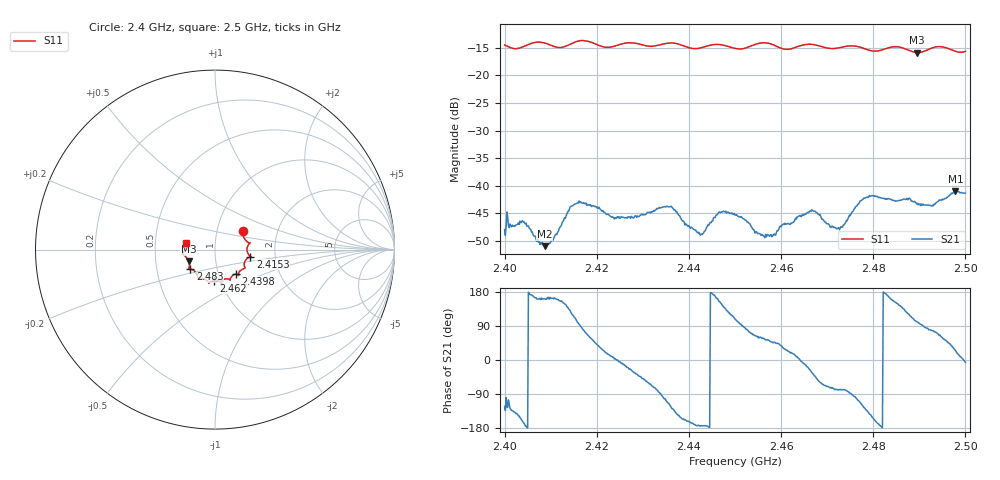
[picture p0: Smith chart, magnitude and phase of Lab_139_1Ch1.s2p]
# Hz S RI R 50
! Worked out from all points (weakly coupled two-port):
!   601 points, 2.4 GHz to 2.5 GHz, reference 50 ohm
!   highest |S21| = -40.99 dB at 2.4978 GHz (marker M1); lowest = -50.9 dB at 2.4087 GHz (marker M2)
!   lowest |S11| = -15.9 dB at 2.4895 GHz (marker M3), VSWR 1.38, Z = 37 - j5 ohm
!   |S11| at or under -10 dB: start of sweep to end of sweep
!   S12 and S22 are empty: the file has one direction only
!   S11 on the Smith chart (normalised r, x): 2.4 GHz: 1.33, +0.29; 2.4153 GHz: 1.48, -0.12; 2.4398 GHz: 1.21, -0.34; 2.462 GHz: 0.93, -0.33; 2.483 GHz: 0.74, -0.17; 2.5 GHz: 0.72, +0.06
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2.4e9  0.1552 0.1061  -0.00215 -0.00339  0 0  0 0
2.404167e9  0.1767 0.0462  -0.0046 -0.00114  0 0  0 0
2.408667e9  0.1931 0.0357  -0.00269 0.00091  0 0  0 0
2.415333e9  0.1964 -0.0387  -0.00238 0.0064  0 0  0 0
2.416667e9  0.202 -0.0428  0.000391 0.00703  0 0  0 0
2.423833e9  0.1626 -0.0853  0.00499 0.000259  0 0  0 0
2.433333e9  0.1314 -0.1337  0.00075 -0.00623  0 0  0 0
2.436167e9  0.1326 -0.1448  -0.00371 -0.00536  0 0  0 0
2.439833e9  0.1153 -0.1363  -0.00404 -0.00136  0 0  0 0
2.442833e9  0.0902 -0.1536  -0.00359 -0.000395  0 0  0 0
2.446667e9  0.0848 -0.1699  -0.00519 0.00255  0 0  0 0
2.45e9  0.0648 -0.1629  -0.00173 0.00514  0 0  0 0
2.456e9  0.038 -0.1931  0.00187 0.00301  0 0  0 0
2.462e9  -0.00526 -0.1731  0.00423 0.0014  0 0  0 0
2.466667e9  -0.0345 -0.1875  0.00508 -0.0033  0 0  0 0
2.472333e9  -0.0733 -0.1606  0.00084 -0.00402  0 0  0 0
2.478167e9  -0.0991 -0.1428  -0.00464 -0.00615  0 0  0 0
2.483e9  -0.1374 -0.1094  -0.00745 0.00118  0 0  0 0
2.483333e9  -0.1399 -0.1094  -0.00744 0.00176  0 0  0 0
2.4895e9  -0.1462 -0.0659  -0.00127 0.00669  0 0  0 0
2.497833e9  -0.1649 0.00313  0.00808 0.00378  0 0  0 0
2.5e9  -0.16 0.0392  0.00853 -0.000856  0 0  0 0
